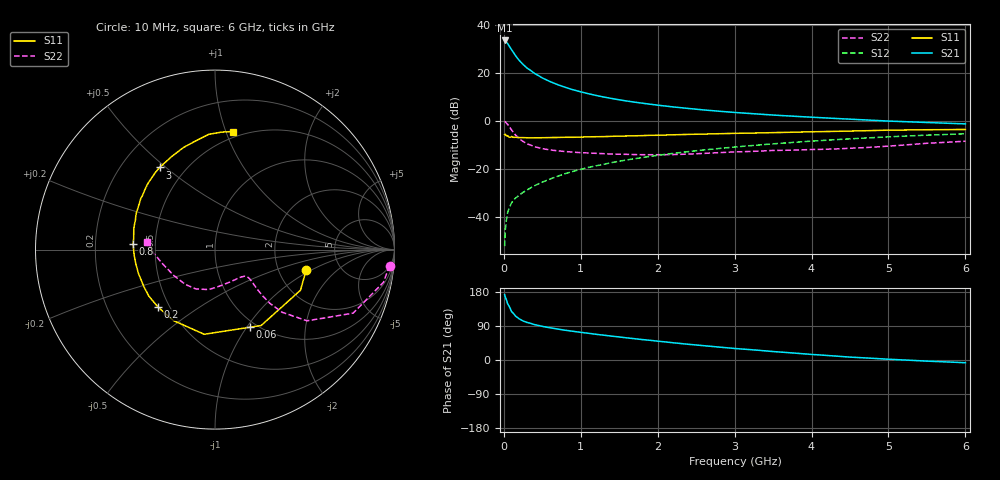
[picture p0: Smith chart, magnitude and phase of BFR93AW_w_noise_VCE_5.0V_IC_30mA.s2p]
! Infineon Technologies  Discrete & RF Semiconductors
! BFR93AW
! VCE =  5.0 V,  IC =  30 mA
! Common Emitter S-Parameters:  Jan 2017
# GHz  S  MA  R  50
!  f  S11  S21  S12  S22
! GHz  MAG  ANG  MAG  ANG  MAG  ANG  MAG  ANG
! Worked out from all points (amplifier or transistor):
!   77 points, 10 MHz to 6 GHz, reference 50 ohm
!   highest |S21| = 33.4 dB at 10 MHz (marker M1)
!   |S21| within 3 dB of that: start of sweep to 82.78 MHz
!   unconditionally stable (mu >= 1): 572.5 MHz to 2.026 GHz
!   at 130 MHz: K = 0.52, MSG = 30.5 dB, |S12| = -32.8 dB
!   at 2.2 GHz: K = 0.99, MSG = 9.7 dB, |S12| = -13.5 dB
!   at 6 GHz: K = 0.88, MSG = 2.1 dB, |S12| = -5.3 dB
!   lowest NFmin = 1.79 dB at 450 MHz
!   S11 on the Smith chart (normalised r, x): 10 MHz: 2.85, -0.90; 60 MHz: 0.93, -1.03; 200 MHz: 0.43, -0.35; 800 MHz: 0.37, +0.03; 3 GHz: 0.36, +0.48; 6 GHz: 0.45, +1.06
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0.01  0.5205 -12.7  46.99 172.6  0.0025 82.5  0.9764 -5.3
0.02  0.5273 -25.4  46.66 166.0  0.0056 83.7  0.956 -11.0
0.05  0.495 -58.7  40.51 148.0  0.0126 69.1  0.8469 -24.7
0.06  0.4741 -65.9  38.14 144.9  0.014 66.7  0.8045 -26.8
0.1  0.4756 -97.3  30.22 127.8  0.0198 60.7  0.6488 -37.7
0.15  0.4583 -120.5  22.89 116.1  0.0248 58.4  0.5127 -43.0
0.2  0.4509 -135.0  18.12 108.6  0.0286 59.0  0.4281 -44.4
0.25  0.4506 -145.1  14.93 103.0  0.0329 60.4  0.3744 -44.2
0.3  0.4468 -152.5  12.62 99.2  0.0366 62.4  0.3359 -43.5
0.4  0.4467 -162.6  9.692 93.2  0.0451 65.4  0.2913 -41.9
0.5  0.4482 -169.9  7.825 88.8  0.0535 67.1  0.2657 -40.7
0.6  0.4511 -175.6  6.579 85.0  0.062 68.3  0.2497 -40.1
0.8  0.4575 175.8  4.985 78.5  0.0806 70.0  0.2314 -40.4
0.9  0.4574 172.0  4.437 75.7  0.0896 69.9  0.2246 -41.5
1.1  0.4669 165.7  3.676 70.5  0.1083 70.1  0.2162 -44.2
1.5  0.4832 155.1  2.747 60.8  0.1453 68.3  0.2032 -52.9
2.1  0.5091 141.2  2.039 47.7  0.2022 64.0  0.199 -72.2
3  0.5523 124.0  1.501 30.4  0.2868 56.2  0.227 -101.9
3.1  0.5551 122.2  1.464 28.9  0.2961 55.2  0.2292 -104.8
4.1  0.5989 105.6  1.172 13.4  0.3891 45.0  0.2563 -134.0
5.1  0.6452 91.8  0.98 1.1  0.4747 34.0  0.3074 -166.8
6  0.6653 81.2  0.868 -7.2  0.5405 23.8  0.3794 173.3
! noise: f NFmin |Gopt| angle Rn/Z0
0.45  1.79  0.18  173  0.16
0.9  2.06  0.26  -175  0.16
1.9  3.1  0.5  -135  0.29
2.4  3.75  0.55  -124  0.55
